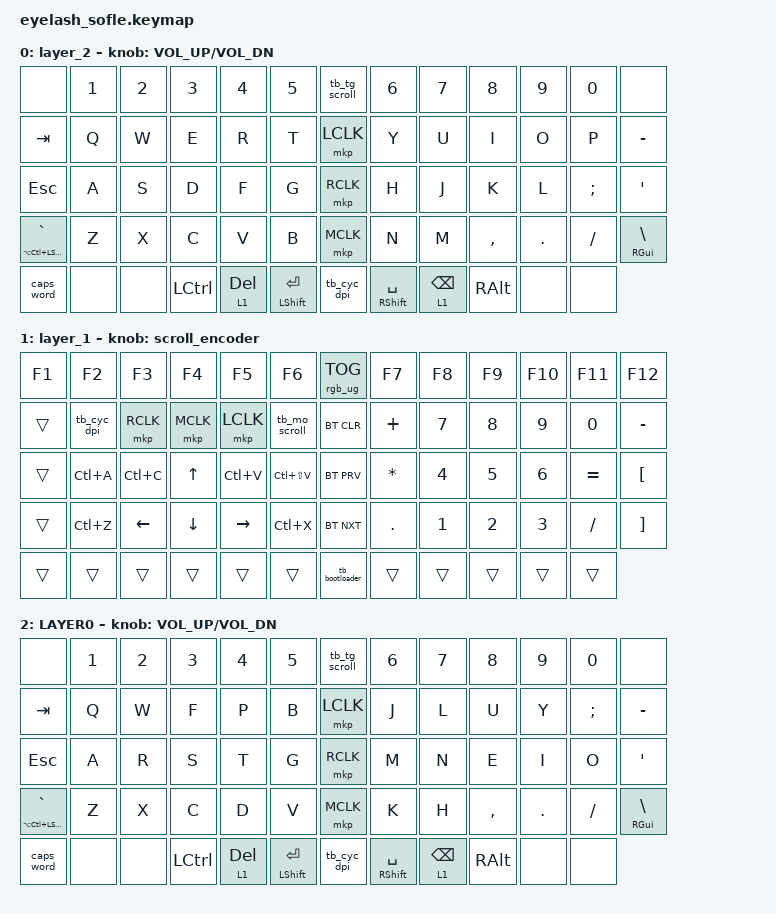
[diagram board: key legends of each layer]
#define ZMK_POINTING_DEFAULT_MOVE_VAL 1200  // 600
#define ZMK_POINTING_DEFAULT_SCRL_VAL 25   // 10

#include <input/processors.dtsi>
#include <zephyr/dt-bindings/input/input-event-codes.h>
#include <behaviors.dtsi>
#include <dt-bindings/zmk/bt.h>
#include <dt-bindings/zmk/keys.h>
#include <dt-bindings/zmk/pointing.h>
#include <dt-bindings/zmk/rgb.h>
#include <interfaces/hid-trackball.dtsi>

&mmv_input_listener { input-processors = <&zip_xy_scaler 2 1>; };

&msc_input_listener { input-processors = <&zip_scroll_scaler 2 1>; };

&msc {
    acceleration-exponent = <1>;      // 0
    time-to-max-speed-ms = <100>;       // 300
    delay-ms = <0>;                   // 0
};

&mmv {
    time-to-max-speed-ms = <500>;
    acceleration-exponent = <1>;
    trigger-period-ms = <16>;
};

/ {
    scroll_encoder: scroll_encoder {
        compatible = "zmk,behavior-sensor-rotate";
        #sensor-binding-cells = <0>;
        bindings = <&msc SCRL_DOWN>, <&msc SCRL_UP>;

        tap-ms = <100>;
    };

    behaviors {
    };

    keymap {
        compatible = "zmk,keymap";

        layer_2 {
            bindings = <
&none                         &kp N1  &kp N2  &kp N3            &kp N4        &kp N5                  &tb_tg_scroll      &kp N6                 &kp N7           &kp N8         &kp N9   &kp N0    &none
&kp TAB                       &kp Q   &kp W   &kp E             &kp R         &kp T                   &mkp LCLK  &kp Y                  &kp U            &kp I          &kp O    &kp P     &kp MINUS
&kp ESCAPE                    &kp A   &kp S   &kp D             &kp F         &kp G                   &mkp RCLK  &kp H                  &kp J            &kp K          &kp L    &kp SEMI  &kp APOS
&mt LA(LC(LEFT_SHIFT)) GRAVE  &kp Z   &kp X   &kp C             &kp V         &kp B                   &mkp MCLK  &kp N                  &kp M            &kp COMMA      &kp DOT  &kp FSLH  &mt RIGHT_GUI BACKSLASH
&caps_word                    &none   &none   &kp LEFT_CONTROL  &lt 1 DELETE  &mt LEFT_SHIFT ENTER    &tb_cyc_dpi     &mt RIGHT_SHIFT SPACE  &lt 1 BACKSPACE  &kp RIGHT_ALT  &none    &none
            >;
            sensor-bindings = <&inc_dec_kp C_VOLUME_UP C_VOL_DN>;
        };

        layer_1 {
            bindings = <
&kp F1  &kp F2       &kp F3     &kp F4     &kp F5     &kp F6           &rgb_ug RGB_TOG  &kp F7        &kp F8        &kp F9        &kp F10       &kp F11       &kp F12
&trans  &tb_cyc_dpi  &mkp RCLK  &mkp MCLK  &mkp LCLK  &tb_mo_scroll    &bt BT_CLR       &kp PLUS      &kp NUMBER_7  &kp NUMBER_8  &kp NUMBER_9  &kp NUMBER_0  &kp MINUS
&trans  &kp LC(A)    &kp LC(C)  &kp UP     &kp LC(V)  &kp LC(LS(V))    &bt BT_PRV       &kp ASTERISK  &kp NUMBER_4  &kp N5        &kp NUMBER_6  &kp EQUAL     &kp LEFT_BRACKET
&trans  &kp LC(Z)    &kp LEFT   &kp DOWN   &kp RIGHT  &kp LC(X)        &bt BT_NXT       &kp PERIOD    &kp NUMBER_1  &kp NUMBER_2  &kp NUMBER_3  &kp SLASH     &kp RIGHT_BRACKET
&trans  &trans       &trans     &trans     &trans     &trans           &tb_bootloader   &trans        &trans        &trans        &trans        &trans
            >;

            sensor-bindings = <&scroll_encoder>;
        };

        layer0 {
            bindings = <
&none                    &kp N1  &kp N2  &kp N3            &kp N4        &kp N5                  &tb_tg_scroll  &kp N6                 &kp N7           &kp N8         &kp N9   &kp N0    &none
&kp TAB                  &kp Q   &kp W   &kp F             &kp P         &kp B                   &mkp LCLK      &kp J                  &kp L            &kp U          &kp Y    &kp SEMI  &kp MINUS
&kp ESCAPE               &kp A   &kp R   &kp S             &kp T         &kp G                   &mkp RCLK      &kp M                  &kp N            &kp E          &kp I    &kp O     &kp APOS
&mt LA(LC(LSHFT)) GRAVE  &kp Z   &kp X   &kp C             &kp D         &kp V                   &mkp MCLK      &kp K                  &kp H            &kp COMMA      &kp DOT  &kp FSLH  &mt RIGHT_GUI BACKSLASH
&caps_word               &none   &none   &kp LEFT_CONTROL  &lt 1 DELETE  &mt LEFT_SHIFT ENTER    &tb_cyc_dpi    &mt RIGHT_SHIFT SPACE  &lt 1 BACKSPACE  &kp RIGHT_ALT  &none    &none
            >;

            sensor-bindings = <&inc_dec_kp C_VOLUME_UP C_VOL_DN>;
            display-name = "LAYER0";
        };
    };
};
